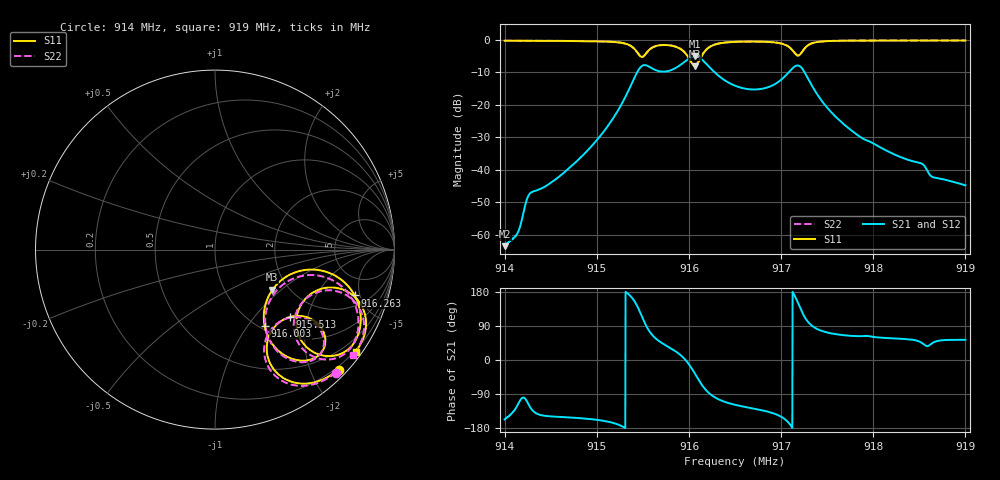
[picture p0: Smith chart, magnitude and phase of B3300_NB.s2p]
! Matrix data file written by TouchstoneData, EPCOS AG
! FILENAME: "narrow band unmatched S-parameter"
! COMMENT: "(B3300_NB.s2p)"
! INFO: nport=2, nfreq=1601
! DATE: "Thu May  8 19:11:31 2014"
! USER: "Andy Zhang"
! port | pin | signal
!  1  |  2  |  input
!  2  |  4  |  output
# MHZ S MA R 50
! freq  magS11 angS11  magS21 angS21  magS12 angS12  magS22 angS22
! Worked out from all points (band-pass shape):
!   1601 points, 914 MHz to 919 MHz, reference 50 ohm
!   highest |S21| = -5.16 dB at 916.069 MHz (marker M1); lowest = -63.5 dB at 914 MHz (marker M2)
!   |S21| within 3 dB of the highest: 915.4872 MHz to 915.5569 MHz (69.69 kHz wide, 0.00761 % of centre); 915.8886 MHz to 916.2123 MHz (323.7 kHz wide, 0.0353 % of centre) (the widest 2 of 3)
!   lowest |S11| = -8.2 dB at 916.066 MHz (marker M3), VSWR 2.28, Z = 82.6 - j43.7 ohm
!   |S11| at or under -10 dB: nowhere
!   |S22| runs from -7.7 to -0.3 dB; largest |S21 - S12| = 0.00076
!   S11 on the Smith chart (normalised r, x): 914 MHz: 0.14, -2.46; 915.513 MHz: 1.43, -1.57; 916.003 MHz: 1.05, -1.21; 916.263 MHz: 2.87, -4.47; 919 MHz: 0.17, -3.08
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914  0.9601 -44.1  0.0006698 -156.8  0.0006766 -157.0  0.961 -45.5
914.1406  0.9588 -44.5  0.001068 -118.8  0.001062 -119.1  0.9594 -46.0
914.2781  0.9573 -44.9  0.004376 -125.0  0.004364 -125.0  0.9575 -46.2
914.8344  0.9494 -48.1  0.0159 -153.8  0.0159 -153.8  0.9505 -49.5
915.3312  0.8478 -60.1  0.1509 176.4  0.151 176.5  0.8486 -61.5
915.4406  0.6315 -62.8  0.3194 141.5  0.3196 141.5  0.6305 -64.3
915.5125  0.5624 -41.8  0.4055 102.4  0.4059 102.4  0.5594 -42.9
915.6688  0.8125 -41.2  0.329 51.1  0.3293 51.1  0.8135 -42.1
915.875  0.7588 -53.9  0.3797 19.5  0.3801 19.5  0.7633 -54.6
916.0031  0.5086 -57.1  0.5126 -12.4  0.5132 -12.3  0.5217 -57.2
916.0656  0.3903 -35.0  0.5519 -36.2  0.5526 -36.1  0.4106 -36.5
916.0688  0.3907 -33.3  0.552 -37.5  0.5527 -37.4  0.411 -34.9
916.2625  0.8195 -18.2  0.3309 -95.7  0.3312 -95.7  0.8229 -20.5
916.5  0.9231 -29.4  0.1957 -118.2  0.1959 -118.2  0.924 -31.3
916.8469  0.9224 -37.9  0.1831 -135.8  0.1832 -135.8  0.9228 -39.6
917.0531  0.8218 -45.3  0.2833 -158.7  0.2834 -158.6  0.8218 -47.0
917.15  0.6174 -42.8  0.3881 168.6  0.3883 168.6  0.6161 -44.6
917.2313  0.6581 -18.8  0.3551 124.6  0.3555 124.7  0.6561 -20.3
917.3344  0.8766 -21.1  0.1963 90.5  0.1964 90.5  0.8765 -22.6
917.6812  0.9617 -30.6  0.04995 65.4  0.04993 65.4  0.9621 -32.1
918.1688  0.9678 -33.9  0.01888 57.7  0.01889 57.7  0.9684 -35.4
919  0.9689 -35.9  0.005759 53.4  0.005762 53.3  0.9697 -37.4
